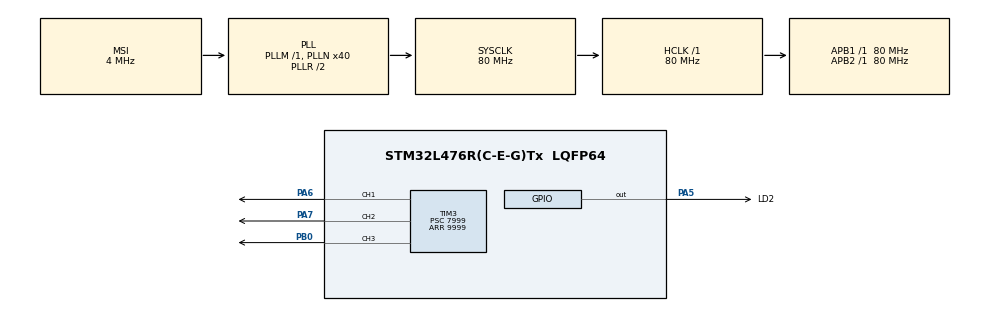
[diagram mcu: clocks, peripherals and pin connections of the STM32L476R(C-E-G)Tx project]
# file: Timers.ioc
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Mcu.Family=STM32L4
Mcu.Name=STM32L476R(C-E-G)Tx
Mcu.Package=LQFP64
NVIC.PriorityGroup=NVIC_PRIORITYGROUP_4
NVIC.TIM3_IRQn=true\:10\:0\:true\:false\:true\:true\:true\:true
PA13\ (JTMS-SWDIO).Mode=Serial_Wire
PA13\ (JTMS-SWDIO).Signal=SYS_JTMS-SWDIO
PA14\ (JTCK-SWCLK).Mode=Serial_Wire
PA14\ (JTCK-SWCLK).Signal=SYS_JTCK-SWCLK
PA5.GPIO_Label=LD2
PA5.Signal=GPIO_Output
PA6.Signal=S_TIM3_CH1
PA7.Signal=S_TIM3_CH2
PB0.Signal=S_TIM3_CH3
ProjectManager.HeapSize=0x200
ProjectManager.StackSize=0x400
ProjectManager.TargetToolchain=STM32CubeIDE
RCC.AHBFreq_Value=80000000
RCC.APB1Freq_Value=80000000
RCC.APB1TimFreq_Value=80000000
RCC.APB2Freq_Value=80000000
RCC.APB2TimFreq_Value=80000000
RCC.CortexFreq_Value=80000000
RCC.HCLKFreq_Value=80000000
RCC.HSE_VALUE=8000000
RCC.HSI_VALUE=16000000
RCC.LSE_VALUE=32768
RCC.MSI_VALUE=4000000
RCC.PLLN=40
RCC.SYSCLKFreq_VALUE=80000000
RCC.SYSCLKSource=RCC_SYSCLKSOURCE_PLLCLK
RCC.VCOOutputFreq_Value=160000000
SH.S_TIM3_CH1.0=TIM3_CH1,PWM Generation1 CH1
SH.S_TIM3_CH2.0=TIM3_CH2,PWM Generation2 CH2
SH.S_TIM3_CH3.0=TIM3_CH3,PWM Generation3 CH3
TIM3.Channel-PWM\ Generation1\ CH1=TIM_CHANNEL_1
TIM3.Channel-PWM\ Generation2\ CH2=TIM_CHANNEL_2
TIM3.Channel-PWM\ Generation3\ CH3=TIM_CHANNEL_3
TIM3.OCPolarity_1=TIM_OCPOLARITY_LOW
TIM3.OCPolarity_2=TIM_OCPOLARITY_LOW
TIM3.OCPolarity_3=TIM_OCPOLARITY_LOW
TIM3.Period=9999
TIM3.Prescaler=7999
TIM3.Pulse-PWM\ Generation1\ CH1=50
TIM3.Pulse-PWM\ Generation2\ CH2=400
TIM3.Pulse-PWM\ Generation3\ CH3=2000
TIM6.Period=9999
TIM6.Prescaler=7999
VP_TIM3_VS_ClockSourceINT.Mode=Internal
VP_TIM6_VS_ClockSourceINT.Mode=Enable_Timer
board=custom

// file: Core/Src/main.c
/* USER CODE BEGIN Header */
/**
  ******************************************************************************
  * @file           : main.c
  * @brief          : Main program body
  ******************************************************************************
  * @attention
  *
  * Copyright (c) 2025 STMicroelectronics.
  * All rights reserved.
  *
  * This software is licensed under terms that can be found in the LICENSE file
  * in the root directory of this software component.
  * If no LICENSE file comes with this software, it is provided AS-IS.
  *
  ******************************************************************************
  */
/* USER CODE END Header */
#include "main.h"

/* USER CODE BEGIN Includes */
#include "math.h"

/* USER CODE END Includes */

TIM_HandleTypeDef htim3;
TIM_HandleTypeDef htim6;

void SystemClock_Config(void);
static void MX_GPIO_Init(void);
static void MX_TIM3_Init(void);
static void MX_TIM6_Init(void);

/* USER CODE BEGIN 0 */
float calc_pwm(float val)
{
    const float k = 0.13f;
    const float x0 = 70.0f;
    return 10000.0f / (1.0f + exp(-k * (val - x0)));
}

void HAL_TIM_PeriodElapsedCallback(TIM_HandleTypeDef *htim)
{
  if (htim == &htim3) {
    HAL_GPIO_TogglePin(LD2_GPIO_Port, LD2_Pin);
/*
    HAL_GPIO_WritePin(LED1_GPIO_Port, LED1_Pin, GPIO_PIN_SET);
    HAL_GPIO_WritePin(LED2_GPIO_Port, LED2_Pin, GPIO_PIN_SET);
    HAL_GPIO_WritePin(LED3_GPIO_Port, LED3_Pin, GPIO_PIN_SET);
    */
  }
}

/*
void HAL_TIM_OC_DelayElapsedCallback(TIM_HandleTypeDef *htim)
{
  if (htim == &htim3) {
    switch (HAL_TIM_GetActiveChannel(&htim3)) {
    case HAL_TIM_ACTIVE_CHANNEL_1:
      HAL_GPIO_WritePin(LED1_GPIO_Port, LED1_Pin, GPIO_PIN_RESET);
      break;
    case HAL_TIM_ACTIVE_CHANNEL_2:
      HAL_GPIO_WritePin(LED2_GPIO_Port, LED2_Pin, GPIO_PIN_RESET);
      break;
    case HAL_TIM_ACTIVE_CHANNEL_3:
      HAL_GPIO_WritePin(LED3_GPIO_Port, LED3_Pin, GPIO_PIN_RESET);
      break;
    default:
      break;
    }
  }
}
*/

/* USER CODE END 0 */

int main(void)
{

  /* MCU Configuration--------------------------------------------------------*/

  /* Reset of all peripherals, Initializes the Flash interface and the Systick. */
  HAL_Init();

  /* Configure the system clock */
  SystemClock_Config();

  /* Initialize all configured peripherals */
  MX_GPIO_Init();
  MX_TIM3_Init();
  MX_TIM6_Init();
  /* USER CODE BEGIN 2 */

 // HAL_TIM_Base_Start_IT(&htim6); // włączamy licznik
  HAL_TIM_Base_Start_IT(&htim3);
  HAL_TIM_PWM_Start(&htim3, TIM_CHANNEL_1);
  HAL_TIM_PWM_Start(&htim3, TIM_CHANNEL_2);
  HAL_TIM_PWM_Start(&htim3, TIM_CHANNEL_3);

  /*
  HAL_TIM_OC_Start_IT(&htim3, TIM_CHANNEL_1);

  HAL_TIM_OC_Start_IT(&htim3, TIM_CHANNEL_2);

  HAL_TIM_OC_Start_IT(&htim3, TIM_CHANNEL_3);
  */

  /* USER CODE END 2 */

  /* Infinite loop */
  /* USER CODE BEGIN WHILE */
  int counter = 0;

  while (1)
  {
	  float r = 50 * (1.0f + sin(counter / 100.0f));
	  float g = 50 * (1.0f + sin(1.5f * counter / 100.0f));
	  float b = 50 * (1.0f + sin(2.0f * counter / 100.0f));
	  __HAL_TIM_SET_COMPARE(&htim3, TIM_CHANNEL_1, calc_pwm(b));
	  __HAL_TIM_SET_COMPARE(&htim3, TIM_CHANNEL_2, calc_pwm(g));
	  __HAL_TIM_SET_COMPARE(&htim3, TIM_CHANNEL_3, calc_pwm(r));
	  HAL_Delay(10);
	  counter++;
    /* USER CODE END WHILE */

  }
}

void SystemClock_Config(void)
{
  RCC_OscInitTypeDef RCC_OscInitStruct = {0};
  RCC_ClkInitTypeDef RCC_ClkInitStruct = {0};

  /** Configure the main internal regulator output voltage
  */
  if (HAL_PWREx_ControlVoltageScaling(PWR_REGULATOR_VOLTAGE_SCALE1) != HAL_OK)
  {
    Error_Handler();
  }

  /** Initializes the RCC Oscillators according to the specified parameters
  * in the RCC_OscInitTypeDef structure.
  */
  RCC_OscInitStruct.OscillatorType = RCC_OSCILLATORTYPE_MSI;
  RCC_OscInitStruct.MSIState = RCC_MSI_ON;
  RCC_OscInitStruct.MSICalibrationValue = 0;
  RCC_OscInitStruct.MSIClockRange = RCC_MSIRANGE_6;
  RCC_OscInitStruct.PLL.PLLState = RCC_PLL_ON;
  RCC_OscInitStruct.PLL.PLLSource = RCC_PLLSOURCE_MSI;
  RCC_OscInitStruct.PLL.PLLM = 1;
  RCC_OscInitStruct.PLL.PLLN = 40;
  RCC_OscInitStruct.PLL.PLLP = RCC_PLLP_DIV7;
  RCC_OscInitStruct.PLL.PLLQ = RCC_PLLQ_DIV2;
  RCC_OscInitStruct.PLL.PLLR = RCC_PLLR_DIV2;
  if (HAL_RCC_OscConfig(&RCC_OscInitStruct) != HAL_OK)
  {
    Error_Handler();
  }

  /** Initializes the CPU, AHB and APB buses clocks
  */
  RCC_ClkInitStruct.ClockType = RCC_CLOCKTYPE_HCLK|RCC_CLOCKTYPE_SYSCLK
                              |RCC_CLOCKTYPE_PCLK1|RCC_CLOCKTYPE_PCLK2;
  RCC_ClkInitStruct.SYSCLKSource = RCC_SYSCLKSOURCE_PLLCLK;
  RCC_ClkInitStruct.AHBCLKDivider = RCC_SYSCLK_DIV1;
  RCC_ClkInitStruct.APB1CLKDivider = RCC_HCLK_DIV1;
  RCC_ClkInitStruct.APB2CLKDivider = RCC_HCLK_DIV1;

  if (HAL_RCC_ClockConfig(&RCC_ClkInitStruct, FLASH_LATENCY_4) != HAL_OK)
  {
    Error_Handler();
  }
}

static void MX_TIM3_Init(void)
{

  TIM_ClockConfigTypeDef sClockSourceConfig = {0};
  TIM_MasterConfigTypeDef sMasterConfig = {0};
  TIM_OC_InitTypeDef sConfigOC = {0};

  htim3.Instance = TIM3;
  htim3.Init.Prescaler = 7999;
  htim3.Init.CounterMode = TIM_COUNTERMODE_UP;
  htim3.Init.Period = 9999;
  htim3.Init.ClockDivision = TIM_CLOCKDIVISION_DIV1;
  htim3.Init.AutoReloadPreload = TIM_AUTORELOAD_PRELOAD_DISABLE;
  if (HAL_TIM_Base_Init(&htim3) != HAL_OK)
  {
    Error_Handler();
  }
  sClockSourceConfig.ClockSource = TIM_CLOCKSOURCE_INTERNAL;
  if (HAL_TIM_ConfigClockSource(&htim3, &sClockSourceConfig) != HAL_OK)
  {
    Error_Handler();
  }
  if (HAL_TIM_PWM_Init(&htim3) != HAL_OK)
  {
    Error_Handler();
  }
  sMasterConfig.MasterOutputTrigger = TIM_TRGO_RESET;
  sMasterConfig.MasterSlaveMode = TIM_MASTERSLAVEMODE_DISABLE;
  if (HAL_TIMEx_MasterConfigSynchronization(&htim3, &sMasterConfig) != HAL_OK)
  {
    Error_Handler();
  }
  sConfigOC.OCMode = TIM_OCMODE_PWM1;
  sConfigOC.Pulse = 50;
  sConfigOC.OCPolarity = TIM_OCPOLARITY_LOW;
  sConfigOC.OCFastMode = TIM_OCFAST_DISABLE;
  if (HAL_TIM_PWM_ConfigChannel(&htim3, &sConfigOC, TIM_CHANNEL_1) != HAL_OK)
  {
    Error_Handler();
  }
  sConfigOC.Pulse = 400;
  if (HAL_TIM_PWM_ConfigChannel(&htim3, &sConfigOC, TIM_CHANNEL_2) != HAL_OK)
  {
    Error_Handler();
  }
  sConfigOC.Pulse = 2000;
  if (HAL_TIM_PWM_ConfigChannel(&htim3, &sConfigOC, TIM_CHANNEL_3) != HAL_OK)
  {
    Error_Handler();
  }
  HAL_TIM_MspPostInit(&htim3);

}

static void MX_TIM6_Init(void)
{

  TIM_MasterConfigTypeDef sMasterConfig = {0};

  htim6.Instance = TIM6;
  htim6.Init.Prescaler = 7999;
  htim6.Init.CounterMode = TIM_COUNTERMODE_UP;
  htim6.Init.Period = 9999;
  htim6.Init.AutoReloadPreload = TIM_AUTORELOAD_PRELOAD_DISABLE;
  if (HAL_TIM_Base_Init(&htim6) != HAL_OK)
  {
    Error_Handler();
  }
  sMasterConfig.MasterOutputTrigger = TIM_TRGO_RESET;
  sMasterConfig.MasterSlaveMode = TIM_MASTERSLAVEMODE_DISABLE;
  if (HAL_TIMEx_MasterConfigSynchronization(&htim6, &sMasterConfig) != HAL_OK)
  {
    Error_Handler();
  }

}

static void MX_GPIO_Init(void)
{
  GPIO_InitTypeDef GPIO_InitStruct = {0};

  /* GPIO Ports Clock Enable */
  __HAL_RCC_GPIOA_CLK_ENABLE();
  __HAL_RCC_GPIOB_CLK_ENABLE();

  /*Configure GPIO pin Output Level */
  HAL_GPIO_WritePin(LD2_GPIO_Port, LD2_Pin, GPIO_PIN_RESET);

  /*Configure GPIO pin : LD2_Pin */
  GPIO_InitStruct.Pin = LD2_Pin;
  GPIO_InitStruct.Mode = GPIO_MODE_OUTPUT_PP;
  GPIO_InitStruct.Pull = GPIO_NOPULL;
  GPIO_InitStruct.Speed = GPIO_SPEED_FREQ_LOW;
  HAL_GPIO_Init(LD2_GPIO_Port, &GPIO_InitStruct);

}

void Error_Handler(void)
{
  __disable_irq();
  while (1)
  {
  }
}
